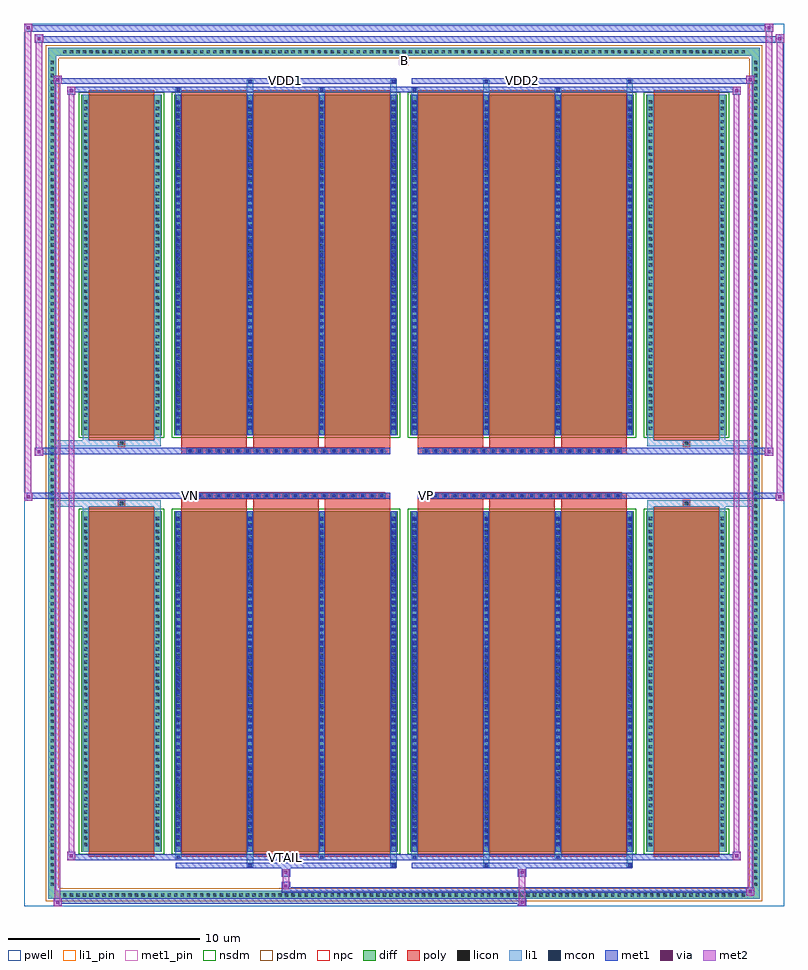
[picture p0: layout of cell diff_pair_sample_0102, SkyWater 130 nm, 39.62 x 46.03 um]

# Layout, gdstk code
import gdstk
lib = gdstk.Library(unit=1e-6, precision=5e-09)
def R(c, l, rs):  # rectangles x0, y0, x1, y1
    for r in rs: c.add(gdstk.rectangle(r[:2], r[2:], *l))
def A(c, l, x, y, w, h, nx, ny, dx, dy):  # array of equal rectangles
    R(c, l, [(x+i*dx, y+j*dy, x+i*dx+w, y+j*dy+h) for i in range(nx) for j in range(ny)])
def P(c, l, *ps):  # polygons
    for p in ps: c.add(gdstk.Polygon(p, *l))
pwell = (64, 44)
diff = (65, 20)
poly = (66, 20)
licon = (66, 44)
li1_pin = (67, 16)
li1 = (67, 20)
mcon = (67, 44)
met1_pin = (68, 16)
met1 = (68, 20)
via = (68, 44)
met2 = (69, 20)
nsdm = (93, 44)
psdm = (94, 20)
npc = (95, 20)

diff_pair_sample_0102 = lib.new_cell('diff_pair_sample_0102')
R(diff_pair_sample_0102, pwell, [(-19.81,-22.58,19.81,23.45), (-17.13,-20.77,-0.01,-0.805), (0.01,-20.77,17.13,-0.805), (-17.13,0.805,-0.01,20.77), (0.01,0.805,17.13,20.77)])
A(diff_pair_sample_0102, diff, -17.885, -22.18, 0.41, 0.41, 105, 2, 0.34, 43.95)
A(diff_pair_sample_0102, diff, -18.54, -21.625, 0.41, 0.41, 1, 127, 0, 0.34)
A(diff_pair_sample_0102, diff, 18.13, -21.625, 0.41, 0.41, 1, 127, 0, 0.34)
R(diff_pair_sample_0102, diff, [(-17.885,-22.18,17.885,-21.77), (-18.54,-21.625,-18.13,21.625), (18.13,-21.625,18.54,21.625), (-16.82,-19.725,-12.63,-1.985), (-11.99,-19.725,-0.32,-1.985), (0.32,-19.725,11.99,-1.985), (12.63,-19.725,16.82,-1.985), (-16.82,1.985,-12.63,19.725), (-11.99,1.985,-0.32,19.725), (0.32,1.985,11.99,19.725), (12.63,1.985,16.82,19.725), (-17.885,21.77,17.885,22.18)])
P(diff_pair_sample_0102, diff, [(18.54,22.18),(-18.54,22.18),(-18.54,-21.77),(-18.13,-21.77),(-18.13,21.77),(18.13,21.77),(18.13,-21.77),(-18.13,-21.77),(-18.54,-21.77),(-18.54,-22.18),(18.54,-22.18)])
A(diff_pair_sample_0102, poly, -11.6, -19.975, 3.41, 18.24, 3, 2, 3.74, 21.71)
A(diff_pair_sample_0102, poly, 0.71, -19.975, 3.41, 18.24, 3, 2, 3.74, 21.71)
A(diff_pair_sample_0102, poly, -11.6, -1.735, 3.41, 0.4, 3, 2, 3.74, 3.07)
A(diff_pair_sample_0102, poly, 0.71, -1.735, 3.41, 0.4, 3, 2, 3.74, 3.07)
A(diff_pair_sample_0102, poly, -11.32, -1.335, 0.33, 0.33, 21, 2, 0.5, 2.34)
A(diff_pair_sample_0102, poly, 0.99, -1.335, 0.33, 0.33, 21, 2, 0.5, 2.34)
R(diff_pair_sample_0102, poly, [(-16.43,-19.975,-13.02,-1.735), (13.02,-19.975,16.43,-1.735), (-14.89,-1.735,-14.56,-1.405), (-14.89,-1.735,-14.56,-1.405), (14.56,-1.735,14.89,-1.405), (14.56,-1.735,14.89,-1.405), (-11.6,-1.335,-0.71,-1.005), (0.71,-1.335,11.6,-1.005), (-11.6,1.005,-0.71,1.335), (0.71,1.005,11.6,1.335), (-14.89,1.405,-14.56,1.735), (-14.89,1.405,-14.56,1.735), (14.56,1.405,14.89,1.735), (14.56,1.405,14.89,1.735), (-16.43,1.735,-13.02,19.975), (13.02,1.735,16.43,19.975)])
A(diff_pair_sample_0102, licon, -17.765, -22.06, 0.17, 0.17, 105, 2, 0.34, 43.95)
A(diff_pair_sample_0102, licon, -18.42, -21.505, 0.17, 0.17, 1, 127, 0, 0.34)
A(diff_pair_sample_0102, licon, 18.25, -21.505, 0.17, 0.17, 1, 127, 0, 0.34)
A(diff_pair_sample_0102, licon, -16.68, -19.44, 0.17, 0.17, 1, 51, 0, 0.34)
A(diff_pair_sample_0102, licon, -12.94, -19.44, 0.17, 0.17, 1, 51, 0, 0.34)
A(diff_pair_sample_0102, licon, -11.85, -19.44, 0.17, 0.17, 4, 51, 3.74, 0.34)
A(diff_pair_sample_0102, licon, 0.46, -19.44, 0.17, 0.17, 4, 51, 3.74, 0.34)
A(diff_pair_sample_0102, licon, 12.77, -19.44, 0.17, 0.17, 1, 51, 0, 0.34)
A(diff_pair_sample_0102, licon, 16.51, -19.44, 0.17, 0.17, 1, 51, 0, 0.34)
A(diff_pair_sample_0102, licon, -11.24, -1.255, 0.17, 0.17, 21, 2, 0.5, 2.34)
A(diff_pair_sample_0102, licon, 1.07, -1.255, 0.17, 0.17, 21, 2, 0.5, 2.34)
A(diff_pair_sample_0102, licon, -16.68, 2.27, 0.17, 0.17, 1, 51, 0, 0.34)
A(diff_pair_sample_0102, licon, -12.94, 2.27, 0.17, 0.17, 1, 51, 0, 0.34)
A(diff_pair_sample_0102, licon, -11.85, 2.27, 0.17, 0.17, 4, 51, 3.74, 0.34)
A(diff_pair_sample_0102, licon, 0.46, 2.27, 0.17, 0.17, 4, 51, 3.74, 0.34)
A(diff_pair_sample_0102, licon, 12.77, 2.27, 0.17, 0.17, 1, 51, 0, 0.34)
A(diff_pair_sample_0102, licon, 16.51, 2.27, 0.17, 0.17, 1, 51, 0, 0.34)
R(diff_pair_sample_0102, licon, [(-14.81,-1.655,-14.64,-1.485), (14.64,-1.655,14.81,-1.485), (-14.81,1.485,-14.64,1.655), (14.64,1.485,14.81,1.655)])
R(diff_pair_sample_0102, li1_pin, [(-0.25,21.27,0.25,21.77)])
A(diff_pair_sample_0102, li1, -17.845, -22.14, 0.33, 0.33, 105, 2, 0.34, 43.95)
A(diff_pair_sample_0102, li1, -18.5, -21.585, 0.33, 0.33, 1, 127, 0, 0.34)
A(diff_pair_sample_0102, li1, 18.17, -21.585, 0.33, 0.33, 1, 127, 0, 0.34)
A(diff_pair_sample_0102, li1, -11.93, -19.725, 0.33, 17.74, 4, 2, 3.74, 21.71)
A(diff_pair_sample_0102, li1, 0.38, -19.725, 0.33, 17.74, 4, 2, 3.74, 21.71)
A(diff_pair_sample_0102, li1, -16.76, -19.52, 0.33, 0.33, 1, 51, 0, 0.34)
A(diff_pair_sample_0102, li1, -13.02, -19.52, 0.33, 0.33, 1, 51, 0, 0.34)
A(diff_pair_sample_0102, li1, -11.93, -19.52, 0.33, 0.33, 4, 51, 3.74, 0.34)
A(diff_pair_sample_0102, li1, 0.38, -19.52, 0.33, 0.33, 4, 51, 3.74, 0.34)
A(diff_pair_sample_0102, li1, 12.69, -19.52, 0.33, 0.33, 1, 51, 0, 0.34)
A(diff_pair_sample_0102, li1, 16.43, -19.52, 0.33, 0.33, 1, 51, 0, 0.34)
A(diff_pair_sample_0102, li1, -11.85, -19.4, 0.17, 0.17, 4, 48, 3.74, 0.36)
A(diff_pair_sample_0102, li1, -11.85, -19.4, 0.17, 17.09, 4, 2, 3.74, 21.71)
A(diff_pair_sample_0102, li1, 0.46, -19.4, 0.17, 0.17, 4, 48, 3.74, 0.36)
A(diff_pair_sample_0102, li1, 0.46, -19.4, 0.17, 17.09, 4, 2, 3.74, 21.71)
A(diff_pair_sample_0102, li1, -11.32, -1.335, 0.33, 0.33, 21, 2, 0.5, 2.34)
A(diff_pair_sample_0102, li1, 0.99, -1.335, 0.33, 0.33, 21, 2, 0.5, 2.34)
A(diff_pair_sample_0102, li1, -16.76, 2.19, 0.33, 0.33, 1, 51, 0, 0.34)
A(diff_pair_sample_0102, li1, -13.02, 2.19, 0.33, 0.33, 1, 51, 0, 0.34)
A(diff_pair_sample_0102, li1, -11.93, 2.19, 0.33, 0.33, 4, 51, 3.74, 0.34)
A(diff_pair_sample_0102, li1, 0.38, 2.19, 0.33, 0.33, 4, 51, 3.74, 0.34)
A(diff_pair_sample_0102, li1, 12.69, 2.19, 0.33, 0.33, 1, 51, 0, 0.34)
A(diff_pair_sample_0102, li1, 16.43, 2.19, 0.33, 0.33, 1, 51, 0, 0.34)
A(diff_pair_sample_0102, li1, -11.85, 2.31, 0.17, 0.17, 4, 48, 3.74, 0.36)
A(diff_pair_sample_0102, li1, 0.46, 2.31, 0.17, 0.17, 4, 48, 3.74, 0.36)
R(diff_pair_sample_0102, li1, [(-18.54,-22.18,-18.13,-21.77), (-18.54,-22.18,-18.13,-21.77), (-18.13,-22.18,18.13,-21.77), (18.13,-22.18,18.54,-21.77), (18.13,-22.18,18.54,-21.77), (-18.54,-21.77,-18.13,21.77), (18.13,-21.77,18.54,21.77), (-8.19,-20.53,-7.86,-19.725), (-8.11,-20.53,-7.94,-20.36), (-0.71,-20.53,-0.38,-19.725), (-0.63,-20.53,-0.46,-20.36), (4.12,-20.53,4.45,-19.725), (4.2,-20.53,4.37,-20.36), (11.6,-20.53,11.93,-19.725), (11.68,-20.53,11.85,-20.36), (-11.93,-20.1,-11.6,-19.725), (-11.85,-20.1,-11.68,-19.93), (-4.45,-20.1,-4.12,-19.725), (-4.37,-20.1,-4.2,-19.93), (0.38,-20.1,0.71,-19.725), (0.46,-20.1,0.63,-19.93), (7.86,-20.1,8.19,-19.725), (7.94,-20.1,8.11,-19.93), (-16.76,-19.725,-16.43,-1.985), (-13.02,-19.725,-12.69,-1.985), (12.69,-19.725,13.02,-1.985), (16.43,-19.725,16.76,-1.985), (-16.76,-1.985,-16.43,-1.405), (-13.02,-1.985,-12.69,-1.405), (12.69,-1.985,13.02,-1.405), (16.43,-1.985,16.76,-1.405), (-18.54,-1.735,-14.89,-1.405), (-16.76,-1.735,-14.89,-1.405), (-14.89,-1.735,-14.56,-1.405), (-14.56,-1.735,-12.69,-1.405), (12.69,-1.735,14.56,-1.405), (14.56,-1.735,14.89,-1.405), (14.56,-1.735,18.54,-1.405), (14.89,-1.735,16.76,-1.405), (-18.54,1.405,-14.89,1.735), (-16.76,1.405,-14.89,1.735), (-16.76,1.405,-16.43,1.985), (-14.89,1.405,-14.56,1.735), (-14.56,1.405,-12.69,1.735), (-13.02,1.405,-12.69,1.985), (12.69,1.405,14.56,1.735), (12.69,1.405,13.02,1.985), (14.56,1.405,14.89,1.735), (14.56,1.405,18.54,1.735), (14.89,1.405,16.76,1.735), (16.43,1.405,16.76,1.985), (-16.76,1.985,-16.43,19.725), (-13.02,1.985,-12.69,19.725), (12.69,1.985,13.02,19.725), (16.43,1.985,16.76,19.725), (-11.93,19.725,-11.6,20.1), (-8.19,19.725,-7.86,20.53), (-4.45,19.725,-4.12,20.1), (-0.71,19.725,-0.38,20.53), (0.38,19.725,0.71,20.1), (4.12,19.725,4.45,20.53), (7.86,19.725,8.19,20.1), (11.6,19.725,11.93,20.53), (-11.85,19.93,-11.68,20.1), (-4.37,19.93,-4.2,20.1), (0.46,19.93,0.63,20.1), (7.94,19.93,8.11,20.1), (-8.11,20.36,-7.94,20.53), (-0.63,20.36,-0.46,20.53), (4.2,20.36,4.37,20.53), (11.68,20.36,11.85,20.53), (-18.54,21.77,-18.13,22.18), (-18.54,21.77,-18.13,22.18), (-18.13,21.77,18.13,22.18), (18.13,21.77,18.54,22.18), (18.13,21.77,18.54,22.18)])
A(diff_pair_sample_0102, mcon, -11.85, -19.4, 0.17, 0.17, 4, 48, 3.74, 0.36)
A(diff_pair_sample_0102, mcon, 0.46, -19.4, 0.17, 0.17, 4, 48, 3.74, 0.36)
A(diff_pair_sample_0102, mcon, -11.24, -1.255, 0.17, 0.17, 21, 2, 0.5, 2.34)
A(diff_pair_sample_0102, mcon, 1.07, -1.255, 0.17, 0.17, 21, 2, 0.5, 2.34)
A(diff_pair_sample_0102, mcon, -11.85, 2.31, 0.17, 0.17, 4, 48, 3.74, 0.36)
A(diff_pair_sample_0102, mcon, 0.46, 2.31, 0.17, 0.17, 4, 48, 3.74, 0.36)
R(diff_pair_sample_0102, mcon, [(-8.11,-20.53,-7.94,-20.36), (-0.63,-20.53,-0.46,-20.36), (4.2,-20.53,4.37,-20.36), (11.68,-20.53,11.85,-20.36), (-11.85,-20.1,-11.68,-19.93), (-4.37,-20.1,-4.2,-19.93), (0.46,-20.1,0.63,-19.93), (7.94,-20.1,8.11,-19.93), (-11.85,19.93,-11.68,20.1), (-4.37,19.93,-4.2,20.1), (0.46,19.93,0.63,20.1), (7.94,19.93,8.11,20.1), (-8.11,20.36,-7.94,20.53), (-0.63,20.36,-0.46,20.53), (4.2,20.36,4.37,20.53), (11.68,20.36,11.85,20.53)])
R(diff_pair_sample_0102, met1_pin, [(-6.29,-20.14,-6.02,-19.87), (-11.29,-1.295,-11.02,-1.025), (1.02,-1.295,1.29,-1.025), (-6.29,20.32,-6.02,20.59), (6.02,20.32,6.29,20.59)])
A(diff_pair_sample_0102, met1, -11.91, -19.725, 0.29, 17.74, 4, 2, 3.74, 21.71)
A(diff_pair_sample_0102, met1, 0.4, -19.725, 0.29, 17.74, 4, 2, 3.74, 21.71)
A(diff_pair_sample_0102, met1, -11.91, -19.46, 0.29, 0.29, 4, 48, 3.74, 0.36)
A(diff_pair_sample_0102, met1, 0.4, -19.46, 0.29, 0.29, 4, 48, 3.74, 0.36)
A(diff_pair_sample_0102, met1, -11.3, -1.315, 0.29, 0.29, 21, 2, 0.5, 2.34)
A(diff_pair_sample_0102, met1, 1.01, -1.315, 0.29, 0.29, 21, 2, 0.5, 2.34)
A(diff_pair_sample_0102, met1, -11.91, 2.25, 0.29, 0.29, 4, 48, 3.74, 0.36)
A(diff_pair_sample_0102, met1, 0.4, 2.25, 0.29, 0.29, 4, 48, 3.74, 0.36)
R(diff_pair_sample_0102, met1, [(-18.27,-22.58,-17.84,-22.15), (5.94,-22.58,6.37,-22.15), (-18.27,-22.44,6.37,-22.15), (17.84,-22.01,18.27,-21.58), (-6.37,-21.87,18.27,-21.58), (-6.37,-21.73,-5.94,-21.3), (-6.37,-21.02,-5.94,-20.59), (5.94,-21.02,6.37,-20.59), (-11.91,-20.59,-0.4,-20.3), (-8.17,-20.59,-7.88,-20.3), (-0.69,-20.59,-0.4,-20.3), (0.4,-20.59,11.91,-20.3), (4.14,-20.59,4.43,-20.3), (11.62,-20.59,11.91,-20.3), (-17.56,-20.16,-17.13,-19.73), (-17.56,-20.16,-11.91,-19.87), (-11.91,-20.16,-11.62,-19.87), (-11.91,-20.16,-0.4,-19.87), (-4.43,-20.16,-4.14,-19.87), (-0.4,-20.16,0.4,-19.87), (0.4,-20.16,0.69,-19.87), (0.4,-20.16,11.91,-19.87), (7.88,-20.16,8.17,-19.87), (11.91,-20.16,17.56,-19.87), (17.13,-20.16,17.56,-19.73), (-19.81,-1.435,-19.38,-1.005), (19.38,-1.435,19.81,-1.005), (-19.81,-1.335,-0.71,-1.005), (-11.6,-1.335,-0.71,-1.005), (0.71,-1.335,11.6,-1.005), (0.71,-1.335,19.81,-1.005), (-19.24,0.905,-18.81,1.335), (18.81,0.905,19.24,1.335), (-19.24,1.005,-11.6,1.335), (-11.6,1.005,-0.71,1.335), (0.71,1.005,11.6,1.335), (11.6,1.005,19.24,1.335), (-17.56,19.73,-17.13,20.16), (17.13,19.73,17.56,20.16), (-17.56,19.87,-11.91,20.16), (-11.91,19.87,-11.62,20.16), (-11.91,19.87,-0.4,20.16), (-4.43,19.87,-4.14,20.16), (-0.4,19.87,0.4,20.16), (0.4,19.87,0.69,20.16), (0.4,19.87,11.91,20.16), (7.88,19.87,8.17,20.16), (11.91,19.87,17.56,20.16), (-18.27,20.3,-17.84,20.73), (-18.27,20.3,-11.91,20.59), (-11.91,20.3,-0.4,20.59), (-8.17,20.3,-7.88,20.59), (-0.69,20.3,-0.4,20.59), (0.4,20.3,11.91,20.59), (4.14,20.3,4.43,20.59), (11.62,20.3,11.91,20.59), (11.91,20.3,18.27,20.59), (17.84,20.3,18.27,20.73), (-19.24,22.45,-18.81,22.88), (-19.24,22.45,-17.13,22.78), (-17.13,22.45,17.13,22.78), (17.13,22.45,19.81,22.78), (19.38,22.45,19.81,22.88), (-19.81,23.02,-19.38,23.45), (-19.81,23.02,-17.13,23.35), (-17.13,23.02,17.13,23.35), (17.13,23.02,19.24,23.35), (18.81,23.02,19.24,23.45)])
R(diff_pair_sample_0102, via, [(-18.13,-22.44,-17.98,-22.29), (6.08,-22.44,6.23,-22.29), (17.98,-21.87,18.13,-21.72), (-6.23,-21.59,-6.08,-21.44), (-6.23,-20.88,-6.08,-20.73), (6.08,-20.88,6.23,-20.73), (-17.42,-20.02,-17.27,-19.87), (17.27,-20.02,17.42,-19.87), (-19.67,-1.295,-19.52,-1.145), (19.52,-1.295,19.67,-1.145), (-19.1,1.045,-18.95,1.195), (18.95,1.045,19.1,1.195), (-17.42,19.87,-17.27,20.02), (17.27,19.87,17.42,20.02), (-18.13,20.44,-17.98,20.59), (17.98,20.44,18.13,20.59), (-19.1,22.59,-18.95,22.74), (19.52,22.59,19.67,22.74), (-19.67,23.16,-19.52,23.31), (18.95,23.16,19.1,23.31)])
R(diff_pair_sample_0102, met2, [(-18.27,-22.58,-17.84,-22.15), (-18.2,-22.58,-17.91,20.73), (-17.91,-22.58,-17.84,-22.15), (-18.22,-22.53,-17.89,-22.2), (5.99,-22.53,6.32,-22.2), (5.99,-22.2,6.32,-20.97), (17.84,-22.01,18.27,-21.58), (17.91,-22.01,18.2,20.73), (18.2,-22.01,18.27,-21.58), (17.89,-21.96,18.22,-21.63), (-6.32,-21.68,-5.99,-21.35), (-6.32,-21.35,-5.99,-20.97), (-6.32,-20.97,-5.99,-20.64), (5.99,-20.97,6.32,-20.64), (-17.56,-20.16,-17.13,-19.73), (-17.49,-20.16,-17.2,20.16), (-17.2,-20.16,-17.13,-19.73), (17.13,-20.16,17.56,-19.73), (17.2,-20.16,17.49,20.16), (17.49,-20.16,17.56,-19.73), (-17.51,-20.11,-17.18,-19.78), (17.18,-20.11,17.51,-19.78), (-19.81,-1.435,-19.38,-1.005), (-19.76,-1.435,-19.43,23.45), (-19.43,-1.435,-19.38,-1.005), (19.38,-1.435,19.81,-1.005), (19.43,-1.435,19.76,22.88), (19.76,-1.435,19.81,-1.005), (-19.76,-1.385,-19.43,-1.055), (19.43,-1.385,19.76,-1.055), (-19.24,0.905,-18.81,1.335), (-19.19,0.905,-18.86,22.88), (-18.86,0.905,-18.81,1.335), (18.81,0.905,19.24,1.335), (18.86,0.905,19.19,23.45), (19.19,0.905,19.24,1.335), (-19.19,0.955,-18.86,1.285), (18.86,0.955,19.19,1.285), (-17.56,19.73,-17.13,20.16), (-17.2,19.73,-17.13,20.16), (17.13,19.73,17.56,20.16), (17.49,19.73,17.56,20.16), (-17.51,19.78,-17.18,20.11), (17.18,19.78,17.51,20.11), (-18.27,20.3,-17.84,20.73), (-17.91,20.3,-17.84,20.73), (17.84,20.3,18.27,20.73), (18.2,20.3,18.27,20.73), (-18.22,20.35,-17.89,20.68), (17.89,20.35,18.22,20.68), (-19.24,22.45,-18.81,22.88), (-18.86,22.45,-18.81,22.88), (19.38,22.45,19.81,22.88), (19.76,22.45,19.81,22.88), (-19.19,22.5,-18.86,22.83), (19.43,22.5,19.76,22.83), (-19.81,23.02,-19.38,23.45), (-19.43,23.02,-19.38,23.45), (18.81,23.02,19.24,23.45), (19.19,23.02,19.24,23.45), (-19.76,23.07,-19.43,23.4), (18.86,23.07,19.19,23.4)])
R(diff_pair_sample_0102, nsdm, [(-16.95,-19.855,-12.5,-1.855), (-12.12,-19.855,-0.19,-1.855), (0.19,-19.855,12.12,-1.855), (12.5,-19.855,16.95,-1.855), (-16.95,1.855,-12.5,19.855), (-12.12,1.855,-0.19,19.855), (0.19,1.855,12.12,19.855), (12.5,1.855,16.95,19.855)])
P(diff_pair_sample_0102, psdm, [(18.67,22.31),(-18.67,22.31),(-18.67,-21.64),(-18,-21.64),(-18,21.64),(18,21.64),(18,-21.64),(-18,-21.64),(-18.67,-21.64),(-18.67,-22.31),(18.67,-22.31)])
A(diff_pair_sample_0102, npc, -11.34, -1.355, 0.37, 0.37, 21, 2, 0.5, 2.34)
A(diff_pair_sample_0102, npc, 0.97, -1.355, 0.37, 0.37, 21, 2, 0.5, 2.34)
R(diff_pair_sample_0102, npc, [(-14.91,-1.755,-14.54,-1.385), (14.54,-1.755,14.91,-1.385), (-11.34,-1.355,-10.47,-0.985), (-11.34,-1.355,-10.47,-0.985), (-10.84,-1.355,-9.97,-0.985), (-10.84,-1.355,-9.97,-0.985), (-10.34,-1.355,-9.47,-0.985), (-10.34,-1.355,-9.47,-0.985), (-9.84,-1.355,-8.97,-0.985), (-9.84,-1.355,-8.97,-0.985), (-9.34,-1.355,-8.47,-0.985), (-9.34,-1.355,-8.47,-0.985), (-8.84,-1.355,-7.97,-0.985), (-8.84,-1.355,-7.97,-0.985), (-8.34,-1.355,-7.47,-0.985), (-8.34,-1.355,-7.47,-0.985), (-7.84,-1.355,-6.97,-0.985), (-7.84,-1.355,-6.97,-0.985), (-7.34,-1.355,-6.47,-0.985), (-7.34,-1.355,-6.47,-0.985), (-6.84,-1.355,-5.97,-0.985), (-6.84,-1.355,-5.97,-0.985), (-6.34,-1.355,-5.47,-0.985), (-6.34,-1.355,-5.47,-0.985), (-5.84,-1.355,-4.97,-0.985), (-5.84,-1.355,-4.97,-0.985), (-5.34,-1.355,-4.47,-0.985), (-5.34,-1.355,-4.47,-0.985), (-4.84,-1.355,-3.97,-0.985), (-4.84,-1.355,-3.97,-0.985), (-4.34,-1.355,-3.47,-0.985), (-4.34,-1.355,-3.47,-0.985), (-3.84,-1.355,-2.97,-0.985), (-3.84,-1.355,-2.97,-0.985), (-3.34,-1.355,-2.47,-0.985), (-3.34,-1.355,-2.47,-0.985), (-2.84,-1.355,-1.97,-0.985), (-2.84,-1.355,-1.97,-0.985), (-2.34,-1.355,-1.47,-0.985), (-2.34,-1.355,-1.47,-0.985), (-1.84,-1.355,-0.97,-0.985), (-1.84,-1.355,-0.97,-0.985), (0.97,-1.355,1.84,-0.985), (0.97,-1.355,1.84,-0.985), (1.47,-1.355,2.34,-0.985), (1.47,-1.355,2.34,-0.985), (1.97,-1.355,2.84,-0.985), (1.97,-1.355,2.84,-0.985), (2.47,-1.355,3.34,-0.985), (2.47,-1.355,3.34,-0.985), (2.97,-1.355,3.84,-0.985), (2.97,-1.355,3.84,-0.985), (3.47,-1.355,4.34,-0.985), (3.47,-1.355,4.34,-0.985), (3.97,-1.355,4.84,-0.985), (3.97,-1.355,4.84,-0.985), (4.47,-1.355,5.34,-0.985), (4.47,-1.355,5.34,-0.985), (4.97,-1.355,5.84,-0.985), (4.97,-1.355,5.84,-0.985), (5.47,-1.355,6.34,-0.985), (5.47,-1.355,6.34,-0.985), (5.97,-1.355,6.84,-0.985), (5.97,-1.355,6.84,-0.985), (6.47,-1.355,7.34,-0.985), (6.47,-1.355,7.34,-0.985), (6.97,-1.355,7.84,-0.985), (6.97,-1.355,7.84,-0.985), (7.47,-1.355,8.34,-0.985), (7.47,-1.355,8.34,-0.985), (7.97,-1.355,8.84,-0.985), (7.97,-1.355,8.84,-0.985), (8.47,-1.355,9.34,-0.985), (8.47,-1.355,9.34,-0.985), (8.97,-1.355,9.84,-0.985), (8.97,-1.355,9.84,-0.985), (9.47,-1.355,10.34,-0.985), (9.47,-1.355,10.34,-0.985), (9.97,-1.355,10.84,-0.985), (9.97,-1.355,10.84,-0.985), (10.47,-1.355,11.34,-0.985), (10.47,-1.355,11.34,-0.985), (-11.34,0.985,-10.47,1.355), (-11.34,0.985,-10.47,1.355), (-10.84,0.985,-9.97,1.355), (-10.84,0.985,-9.97,1.355), (-10.34,0.985,-9.47,1.355), (-10.34,0.985,-9.47,1.355), (-9.84,0.985,-8.97,1.355), (-9.84,0.985,-8.97,1.355), (-9.34,0.985,-8.47,1.355), (-9.34,0.985,-8.47,1.355), (-8.84,0.985,-7.97,1.355), (-8.84,0.985,-7.97,1.355), (-8.34,0.985,-7.47,1.355), (-8.34,0.985,-7.47,1.355), (-7.84,0.985,-6.97,1.355), (-7.84,0.985,-6.97,1.355), (-7.34,0.985,-6.47,1.355), (-7.34,0.985,-6.47,1.355), (-6.84,0.985,-5.97,1.355), (-6.84,0.985,-5.97,1.355), (-6.34,0.985,-5.47,1.355), (-6.34,0.985,-5.47,1.355), (-5.84,0.985,-4.97,1.355), (-5.84,0.985,-4.97,1.355), (-5.34,0.985,-4.47,1.355), (-5.34,0.985,-4.47,1.355), (-4.84,0.985,-3.97,1.355), (-4.84,0.985,-3.97,1.355), (-4.34,0.985,-3.47,1.355), (-4.34,0.985,-3.47,1.355), (-3.84,0.985,-2.97,1.355), (-3.84,0.985,-2.97,1.355), (-3.34,0.985,-2.47,1.355), (-3.34,0.985,-2.47,1.355), (-2.84,0.985,-1.97,1.355), (-2.84,0.985,-1.97,1.355), (-2.34,0.985,-1.47,1.355), (-2.34,0.985,-1.47,1.355), (-1.84,0.985,-0.97,1.355), (-1.84,0.985,-0.97,1.355), (0.97,0.985,1.84,1.355), (0.97,0.985,1.84,1.355), (1.47,0.985,2.34,1.355), (1.47,0.985,2.34,1.355), (1.97,0.985,2.84,1.355), (1.97,0.985,2.84,1.355), (2.47,0.985,3.34,1.355), (2.47,0.985,3.34,1.355), (2.97,0.985,3.84,1.355), (2.97,0.985,3.84,1.355), (3.47,0.985,4.34,1.355), (3.47,0.985,4.34,1.355), (3.97,0.985,4.84,1.355), (3.97,0.985,4.84,1.355), (4.47,0.985,5.34,1.355), (4.47,0.985,5.34,1.355), (4.97,0.985,5.84,1.355), (4.97,0.985,5.84,1.355), (5.47,0.985,6.34,1.355), (5.47,0.985,6.34,1.355), (5.97,0.985,6.84,1.355), (5.97,0.985,6.84,1.355), (6.47,0.985,7.34,1.355), (6.47,0.985,7.34,1.355), (6.97,0.985,7.84,1.355), (6.97,0.985,7.84,1.355), (7.47,0.985,8.34,1.355), (7.47,0.985,8.34,1.355), (7.97,0.985,8.84,1.355), (7.97,0.985,8.84,1.355), (8.47,0.985,9.34,1.355), (8.47,0.985,9.34,1.355), (8.97,0.985,9.84,1.355), (8.97,0.985,9.84,1.355), (9.47,0.985,10.34,1.355), (9.47,0.985,10.34,1.355), (9.97,0.985,10.84,1.355), (9.97,0.985,10.84,1.355), (10.47,0.985,11.34,1.355), (10.47,0.985,11.34,1.355), (-14.91,1.385,-14.54,1.755), (14.54,1.385,14.91,1.755)])
diff_pair_sample_0102.add(gdstk.Label('VTAIL', (-6.155,-20.005), layer=68, texttype=5))
diff_pair_sample_0102.add(gdstk.Label('VN', (-11.155,-1.16), layer=68, texttype=5))
diff_pair_sample_0102.add(gdstk.Label('VP', (1.155,-1.16), layer=68, texttype=5))
diff_pair_sample_0102.add(gdstk.Label('B', (0,21.52), layer=67, texttype=5))
diff_pair_sample_0102.add(gdstk.Label('VDD2', (6.155,20.455), layer=68, texttype=5))
diff_pair_sample_0102.add(gdstk.Label('VDD1', (-6.155,20.455), layer=68, texttype=5))

lib.write_gds('diff_pair_sample_0102.gds')
